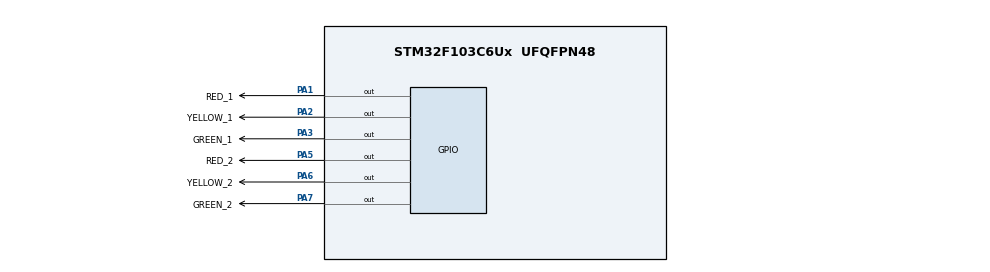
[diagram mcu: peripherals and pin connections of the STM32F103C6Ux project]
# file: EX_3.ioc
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Mcu.Family=STM32F1
Mcu.Name=STM32F103C6Ux
Mcu.Package=UFQFPN48
NVIC.PriorityGroup=NVIC_PRIORITYGROUP_4
PA1.GPIO_Label=RED_1
PA1.Signal=GPIO_Output
PA2.GPIO_Label=YELLOW_1
PA2.Signal=GPIO_Output
PA3.GPIO_Label=GREEN_1
PA3.Signal=GPIO_Output
PA5.GPIO_Label=RED_2
PA5.Signal=GPIO_Output
PA6.GPIO_Label=YELLOW_2
PA6.Signal=GPIO_Output
PA7.GPIO_Label=GREEN_2
PA7.Signal=GPIO_Output
ProjectManager.HeapSize=0x200
ProjectManager.StackSize=0x400
ProjectManager.TargetToolchain=STM32CubeIDE
RCC.APB1Freq_Value=8000000
RCC.APB2Freq_Value=8000000
VP_SYS_VS_ND.Mode=No_Debug
board=custom

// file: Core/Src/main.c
/* USER CODE BEGIN Header */
/**
  ******************************************************************************
  * @file           : main.c
  * @brief          : Main program body
  ******************************************************************************
  * @attention
  *
  * <h2><center>&copy; Copyright (c) 2022 STMicroelectronics.
  * All rights reserved.</center></h2>
  *
  * This software component is licensed by ST under BSD 3-Clause license,
  * the "License"; You may not use this file except in compliance with the
  * License. You may obtain a copy of the License at:
  *                        opensource.org/licenses/BSD-3-Clause
  *
  ******************************************************************************
  */
/* USER CODE END Header */
#include "main.h"

void SystemClock_Config(void);
static void MX_GPIO_Init(void);

int main(void)
{

  /* MCU Configuration--------------------------------------------------------*/

  /* Reset of all peripherals, Initializes the Flash interface and the Systick. */
  HAL_Init();

  /* Configure the system clock */
  SystemClock_Config();

  /* Initialize all configured peripherals */
  MX_GPIO_Init();

  /* Infinite loop */
  /* USER CODE BEGIN WHILE */
  int state = 1;
  int count = 0;
  while (1)
  {
    /* USER CODE END WHILE */

	/* USER CODE BEGIN 3 */
	if(count == 0){
    switch (state){
    	case 1: // RED 1 time 5s
    		HAL_GPIO_WritePin(RED_1_GPIO_Port, RED_1_Pin, GPIO_PIN_RESET);
    		count -= 4;
    		state = 3;
    		HAL_GPIO_WritePin(YELLOW_1_GPIO_Port, YELLOW_1_Pin, GPIO_PIN_SET);
    		HAL_GPIO_WritePin(GREEN_1_GPIO_Port, GREEN_1_Pin, GPIO_PIN_SET);

    		HAL_GPIO_WritePin(GREEN_2_GPIO_Port, GREEN_2_Pin, GPIO_PIN_RESET); // GREEN 2 Light
    		HAL_GPIO_WritePin(YELLOW_2_GPIO_Port, YELLOW_2_Pin, GPIO_PIN_SET);
    		HAL_GPIO_WritePin(RED_2_GPIO_Port, RED_2_Pin, GPIO_PIN_SET);

    		break;
    	case 2:// YELLOW 1 time 2s
    		HAL_GPIO_WritePin(GREEN_1_GPIO_Port, GREEN_1_Pin, GPIO_PIN_SET);
    		count -= 1;
    		state = 1;
    		HAL_GPIO_WritePin(YELLOW_1_GPIO_Port, YELLOW_1_Pin, GPIO_PIN_RESET);
    		break;
    	case 3: // GREEN 1 time 3s
    		HAL_GPIO_WritePin(RED_1_GPIO_Port, RED_1_Pin, GPIO_PIN_SET);
    		count -= 2;
    		state = 2;
    		HAL_GPIO_WritePin(GREEN_1_GPIO_Port, GREEN_1_Pin, GPIO_PIN_RESET);

    		HAL_GPIO_WritePin(YELLOW_2_GPIO_Port, YELLOW_2_Pin, GPIO_PIN_SET);// YELLOW 2 Off
    		HAL_GPIO_WritePin(RED_2_GPIO_Port, RED_2_Pin, GPIO_PIN_RESET); // RED 2 Light
    		break;

  }
	}
	else if (count == -2 && state == 3){
		HAL_GPIO_WritePin(GREEN_2_GPIO_Port, GREEN_2_Pin, GPIO_PIN_SET); // GREEN 2 Off
		HAL_GPIO_WritePin(YELLOW_2_GPIO_Port, YELLOW_2_Pin, GPIO_PIN_RESET);// YELLOW 2 Light
		count++;
	}
	else count++;
	HAL_Delay(1000);
  }
  /* USER CODE END 3 */
}

void SystemClock_Config(void)
{
  RCC_OscInitTypeDef RCC_OscInitStruct = {0};
  RCC_ClkInitTypeDef RCC_ClkInitStruct = {0};

  /** Initializes the RCC Oscillators according to the specified parameters
  * in the RCC_OscInitTypeDef structure.
  */
  RCC_OscInitStruct.OscillatorType = RCC_OSCILLATORTYPE_HSI;
  RCC_OscInitStruct.HSIState = RCC_HSI_ON;
  RCC_OscInitStruct.HSICalibrationValue = RCC_HSICALIBRATION_DEFAULT;
  RCC_OscInitStruct.PLL.PLLState = RCC_PLL_NONE;
  if (HAL_RCC_OscConfig(&RCC_OscInitStruct) != HAL_OK)
  {
    Error_Handler();
  }
  /** Initializes the CPU, AHB and APB buses clocks
  */
  RCC_ClkInitStruct.ClockType = RCC_CLOCKTYPE_HCLK|RCC_CLOCKTYPE_SYSCLK
                              |RCC_CLOCKTYPE_PCLK1|RCC_CLOCKTYPE_PCLK2;
  RCC_ClkInitStruct.SYSCLKSource = RCC_SYSCLKSOURCE_HSI;
  RCC_ClkInitStruct.AHBCLKDivider = RCC_SYSCLK_DIV1;
  RCC_ClkInitStruct.APB1CLKDivider = RCC_HCLK_DIV1;
  RCC_ClkInitStruct.APB2CLKDivider = RCC_HCLK_DIV1;

  if (HAL_RCC_ClockConfig(&RCC_ClkInitStruct, FLASH_LATENCY_0) != HAL_OK)
  {
    Error_Handler();
  }
}

static void MX_GPIO_Init(void)
{
  GPIO_InitTypeDef GPIO_InitStruct = {0};

  /* GPIO Ports Clock Enable */
  __HAL_RCC_GPIOA_CLK_ENABLE();

  /*Configure GPIO pin Output Level */
  HAL_GPIO_WritePin(GPIOA, RED_1_Pin|YELLOW_1_Pin|GREEN_1_Pin|RED_2_Pin
                          |YELLOW_2_Pin|GREEN_2_Pin, GPIO_PIN_RESET);

  /*Configure GPIO pins : RED_1_Pin YELLOW_1_Pin GREEN_1_Pin RED_2_Pin
                           YELLOW_2_Pin GREEN_2_Pin */
  GPIO_InitStruct.Pin = RED_1_Pin|YELLOW_1_Pin|GREEN_1_Pin|RED_2_Pin
                          |YELLOW_2_Pin|GREEN_2_Pin;
  GPIO_InitStruct.Mode = GPIO_MODE_OUTPUT_PP;
  GPIO_InitStruct.Pull = GPIO_NOPULL;
  GPIO_InitStruct.Speed = GPIO_SPEED_FREQ_LOW;
  HAL_GPIO_Init(GPIOA, &GPIO_InitStruct);

}

void Error_Handler(void)
{
  __disable_irq();
  while (1)
  {
  }
}

/************************ (C) COPYRIGHT STMicroelectronics *****END OF FILE****/
